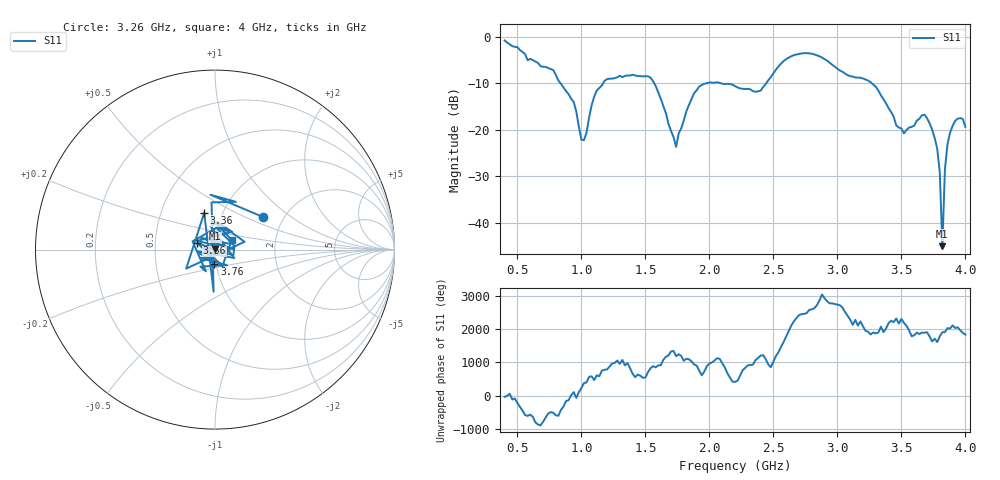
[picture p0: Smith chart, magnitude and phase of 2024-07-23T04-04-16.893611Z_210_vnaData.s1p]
!Created with skrf (http://scikit-rf.org).
# Hz S RI R 50.0
!freq ReS11 ImS11
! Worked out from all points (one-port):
!   181 points, 400 MHz to 4 GHz, reference 50 ohm
!   lowest |S11| = -45.1 dB at 3.82 GHz (marker M1), VSWR 1.01, Z = 49.9 + j0.542 ohm
!   |S11| at or under -10 dB: 1.569 GHz to 1.978 GHz (409.6 MHz wide, 23.1 % of centre); 2.091 GHz to 2.444 GHz (353.5 MHz wide, 15.6 % of centre); 3.269 GHz to end of sweep (the widest 3 of 4)
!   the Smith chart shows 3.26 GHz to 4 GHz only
!   S11 on the Smith chart (normalised r, x): 3.26 GHz: 1.58, +0.64; 3.36 GHz: 0.82, +0.35; 3.56 GHz: 0.82, +0.06; 3.76 GHz: 0.98, -0.16; 4 GHz: 1.19, +0.13
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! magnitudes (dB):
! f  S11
! 400 MHz  -0.8
! 780 MHz  -7.2
! 860 MHz  -10.9
! 940 MHz  -14.0
! 1 GHz  -22.2
! 1.02 GHz  -22.2
! 1.12 GHz  -11.5
! 1.3 GHz  -8.4
! 1.54 GHz  -8.8
! 1.74 GHz  -23.7
! 1.76 GHz  -20.8
! 1.92 GHz  -10.7
! 2.2 GHz  -10.6
! 2.4 GHz  -11.6
! 2.66 GHz  -3.9
! 3.1 GHz  -8.5
! 3.26 GHz  -9.8
! 3.36 GHz  -13.4
! 3.46 GHz  -19.1
! 3.56 GHz  -19.5
! 3.68 GHz  -16.8
! 3.76 GHz  -21.8
! 3.8 GHz  -29.3
! 3.82 GHz  -45.1
! 3.84 GHz  -28.6
! 3.86 GHz  -23.1
! 3.92 GHz  -18.1
! 4 GHz  -19.4
